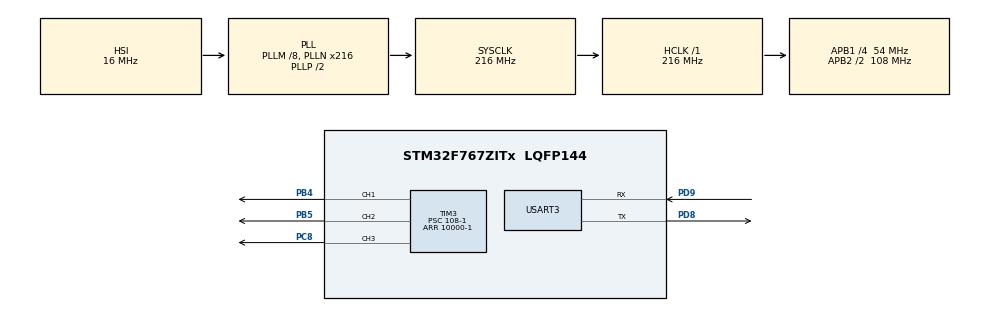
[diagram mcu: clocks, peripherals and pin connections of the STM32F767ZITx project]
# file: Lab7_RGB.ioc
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CORTEX_M7.default_mode_Activation=1
Mcu.Family=STM32F7
Mcu.Name=STM32F767ZITx
Mcu.Package=LQFP144
NVIC.PriorityGroup=NVIC_PRIORITYGROUP_4
NVIC.USART3_IRQn=true\:0\:0\:false\:false\:true\:true\:true\:true
PB4.GPIO_Speed=GPIO_SPEED_FREQ_VERY_HIGH
PB4.Signal=S_TIM3_CH1
PB5.GPIO_Speed=GPIO_SPEED_FREQ_VERY_HIGH
PB5.Signal=S_TIM3_CH2
PC8.GPIO_Speed=GPIO_SPEED_FREQ_VERY_HIGH
PC8.Signal=S_TIM3_CH3
PD8.Mode=Asynchronous
PD8.Signal=USART3_TX
PD9.Mode=Asynchronous
PD9.Signal=USART3_RX
ProjectManager.HeapSize=0x200
ProjectManager.StackSize=0x400
ProjectManager.TargetToolchain=STM32CubeIDE
RCC.AHBFreq_Value=216000000
RCC.APB1CLKDivider=RCC_HCLK_DIV4
RCC.APB1Freq_Value=54000000
RCC.APB1TimFreq_Value=108000000
RCC.APB2CLKDivider=RCC_HCLK_DIV2
RCC.APB2Freq_Value=108000000
RCC.APB2TimFreq_Value=216000000
RCC.CortexFreq_Value=216000000
RCC.HCLKFreq_Value=216000000
RCC.HSE_VALUE=25000000
RCC.HSI_VALUE=16000000
RCC.LSE_VALUE=32768
RCC.PLLM=8
RCC.PLLN=216
RCC.SYSCLKFreq_VALUE=216000000
RCC.SYSCLKSource=RCC_SYSCLKSOURCE_PLLCLK
RCC.USBFreq_Value=216000000
RCC.VCOOutputFreq_Value=432000000
SH.S_TIM3_CH1.0=TIM3_CH1,PWM Generation1 CH1
SH.S_TIM3_CH2.0=TIM3_CH2,PWM Generation2 CH2
SH.S_TIM3_CH3.0=TIM3_CH3,PWM Generation3 CH3
TIM3.Channel-PWM\ Generation1\ CH1=TIM_CHANNEL_1
TIM3.Channel-PWM\ Generation2\ CH2=TIM_CHANNEL_2
TIM3.Channel-PWM\ Generation3\ CH3=TIM_CHANNEL_3
TIM3.Period=10000-1
TIM3.Prescaler=108-1
USART3.VirtualMode-Asynchronous=VM_ASYNC
VP_TIM3_VS_ClockSourceINT.Mode=Internal
board=custom

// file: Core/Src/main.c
/* USER CODE BEGIN Header */
/**
  ******************************************************************************
  * @file           : main.c
  * @brief          : Main program body
  ******************************************************************************
  * @attention
  *
  * Copyright (c) 2026 STMicroelectronics.
  * All rights reserved.
  *
  * This software is licensed under terms that can be found in the LICENSE file
  * in the root directory of this software component.
  * If no LICENSE file comes with this software, it is provided AS-IS.
  *
  ******************************************************************************
  */
/* USER CODE END Header */
#include "main.h"
#include "tim.h"
#include "usart.h"
#include "gpio.h"

/* USER CODE BEGIN Includes */
#include <stdio.h>
/* USER CODE END Includes */

/* USER CODE BEGIN PD */
#define PWM_PERIOD   (10000-1)   // matches TIM3 ARR value
#define STEP_PERCENT 20          // brightness increases by 20% per key press
/* USER CODE END PD */

/* USER CODE BEGIN PV */
volatile uint8_t rxChar;              // holds the byte received over UART (interrupt-driven)
volatile uint8_t newKeyReceived = 0;  // flag set by the ISR, cleared by main loop

uint8_t redBrightness   = 0;    // 0,20,40,60,80,100 (%)
uint8_t greenBrightness = 0;
uint8_t blueBrightness  = 0;
/* USER CODE END PV */

void SystemClock_Config(void);
static void MPU_Config(void);
/* USER CODE BEGIN PFP */
void UpdatePWM(void);
/* USER CODE END PFP */

/* USER CODE BEGIN 0 */

/**
  * @brief  Writes the current brightness values into the TIM3 CCR registers.
  */
void UpdatePWM(void)
{
  htim3.Instance->CCR1 = (PWM_PERIOD * redBrightness)   / 100;  // R -> PB4
  htim3.Instance->CCR2 = (PWM_PERIOD * greenBrightness) / 100;  // G -> PB5
  htim3.Instance->CCR3 = (PWM_PERIOD * blueBrightness)  / 100;  // B -> PB0
}

/**
  * @brief  Called automatically by the HAL whenever the 1-byte interrupt-driven
  *         reception completes. This is much more robust than blocking
  *         HAL_UART_Receive(): it does not get "stuck" after a noise/framing
  *         error, because we immediately re-arm the next reception no matter
  *         what byte just came in.
  */
void HAL_UART_RxCpltCallback(UART_HandleTypeDef *huart)
{
  if (huart->Instance == USART3)
  {
    HAL_GPIO_TogglePin(GPIOB, GPIO_PIN_7);    // LD2 toggles on EVERY byte received (proof ISR fired)
    newKeyReceived = 1;                       // tell main loop a byte is ready
    HAL_UART_Receive_IT(&huart3, (uint8_t*)&rxChar, 1);  // immediately listen for the next byte
  }
}

/**
  * @brief  Called by the HAL if a UART error (overrun, framing, noise, parity)
  *         occurs. We simply clear it and re-arm reception so the peripheral
  *         never gets permanently stuck.
  */
void HAL_UART_ErrorCallback(UART_HandleTypeDef *huart)
{
  if (huart->Instance == USART3)
  {
    // Rapid double-toggle so you can tell an ERROR happened vs a normal byte
    HAL_GPIO_TogglePin(GPIOB, GPIO_PIN_7);
    HAL_Delay(50);
    HAL_GPIO_TogglePin(GPIOB, GPIO_PIN_7);

    __HAL_UART_CLEAR_OREFLAG(huart);
    __HAL_UART_CLEAR_FEFLAG(huart);
    __HAL_UART_CLEAR_NEFLAG(huart);
    __HAL_UART_CLEAR_PEFLAG(huart);
    HAL_UART_Receive_IT(&huart3, (uint8_t*)&rxChar, 1);
  }
}

/* USER CODE END 0 */

int main(void)
{

  /* MPU Configuration--------------------------------------------------------*/
  MPU_Config();

  /* MCU Configuration--------------------------------------------------------*/

  /* Reset of all peripherals, Initializes the Flash interface and the Systick. */
  HAL_Init();

  /* Configure the system clock */
  SystemClock_Config();

  /* Initialize all configured peripherals */
  MX_GPIO_Init();
  MX_TIM3_Init();
  MX_USART3_UART_Init();
  /* USER CODE BEGIN 2 */

  // Manually configure PB7 (onboard LD2 green LED on Nucleo-144) as a
  // GPIO output, used purely as a hardware debug indicator for this test.
  {
    GPIO_InitTypeDef GPIO_InitStruct = {0};
    __HAL_RCC_GPIOB_CLK_ENABLE();
    GPIO_InitStruct.Pin   = GPIO_PIN_7;
    GPIO_InitStruct.Mode  = GPIO_MODE_OUTPUT_PP;
    GPIO_InitStruct.Pull  = GPIO_NOPULL;
    GPIO_InitStruct.Speed = GPIO_SPEED_FREQ_LOW;
    HAL_GPIO_Init(GPIOB, &GPIO_InitStruct);
    HAL_GPIO_WritePin(GPIOB, GPIO_PIN_7, GPIO_PIN_RESET);
  }

  // Start PWM generation on all 3 channels
  HAL_TIM_PWM_Start(&htim3, TIM_CHANNEL_1);   // R
  HAL_TIM_PWM_Start(&htim3, TIM_CHANNEL_2);   // G
  HAL_TIM_PWM_Start(&htim3, TIM_CHANNEL_3);   // B

  UpdatePWM();   // all start at 0% brightness

  // Arm the FIRST interrupt-driven byte reception. From here on, every
  // completed reception (HAL_UART_RxCpltCallback) re-arms the next one.
  HAL_UART_Receive_IT(&huart3, (uint8_t*)&rxChar, 1);

  /* USER CODE END 2 */

  /* Infinite loop */
  /* USER CODE BEGIN WHILE */
  while (1)
  {
    if (newKeyReceived)
    {
      newKeyReceived = 0;
      uint8_t key = rxChar;

      uint8_t isValidKey = (key=='r'||key=='R'||key=='g'||key=='G'||key=='b'||key=='B');

      if (isValidKey)
      {
        switch (key)
        {
          case 'r':
          case 'R':
            redBrightness += STEP_PERCENT;
            if (redBrightness > 100) redBrightness = 0;
            break;

          case 'g':
          case 'G':
            greenBrightness += STEP_PERCENT;
            if (greenBrightness > 100) greenBrightness = 0;
            break;

          case 'b':
          case 'B':
            blueBrightness += STEP_PERCENT;
            if (blueBrightness > 100) blueBrightness = 0;
            break;
        }

        UpdatePWM();

        char msg[64];
        int len = snprintf(msg, sizeof(msg), "key=%c  R=%3d G=%3d B=%3d\r\n",
                            key, redBrightness, greenBrightness, blueBrightness);
        HAL_UART_Transmit(&huart3, (uint8_t*)msg, len, HAL_MAX_DELAY);
      }
      // else: silently ignore noise / unrecognized bytes
    }

    /* USER CODE END WHILE */

  }
}

void SystemClock_Config(void)
{
  RCC_OscInitTypeDef RCC_OscInitStruct = {0};
  RCC_ClkInitTypeDef RCC_ClkInitStruct = {0};

  /** Configure the main internal regulator output voltage
  */
  __HAL_RCC_PWR_CLK_ENABLE();
  __HAL_PWR_VOLTAGESCALING_CONFIG(PWR_REGULATOR_VOLTAGE_SCALE1);

  /** Initializes the RCC Oscillators according to the specified parameters
  * in the RCC_OscInitTypeDef structure.
  */
  RCC_OscInitStruct.OscillatorType = RCC_OSCILLATORTYPE_HSI;
  RCC_OscInitStruct.HSIState = RCC_HSI_ON;
  RCC_OscInitStruct.HSICalibrationValue = RCC_HSICALIBRATION_DEFAULT;
  RCC_OscInitStruct.PLL.PLLState = RCC_PLL_ON;
  RCC_OscInitStruct.PLL.PLLSource = RCC_PLLSOURCE_HSI;
  RCC_OscInitStruct.PLL.PLLM = 8;
  RCC_OscInitStruct.PLL.PLLN = 216;
  RCC_OscInitStruct.PLL.PLLP = RCC_PLLP_DIV2;
  RCC_OscInitStruct.PLL.PLLQ = 2;
  RCC_OscInitStruct.PLL.PLLR = 2;
  if (HAL_RCC_OscConfig(&RCC_OscInitStruct) != HAL_OK)
  {
    Error_Handler();
  }

  /** Activate the Over-Drive mode
  */
  if (HAL_PWREx_EnableOverDrive() != HAL_OK)
  {
    Error_Handler();
  }

  /** Initializes the CPU, AHB and APB buses clocks
  */
  RCC_ClkInitStruct.ClockType = RCC_CLOCKTYPE_HCLK|RCC_CLOCKTYPE_SYSCLK
                              |RCC_CLOCKTYPE_PCLK1|RCC_CLOCKTYPE_PCLK2;
  RCC_ClkInitStruct.SYSCLKSource = RCC_SYSCLKSOURCE_PLLCLK;
  RCC_ClkInitStruct.AHBCLKDivider = RCC_SYSCLK_DIV1;
  RCC_ClkInitStruct.APB1CLKDivider = RCC_HCLK_DIV4;
  RCC_ClkInitStruct.APB2CLKDivider = RCC_HCLK_DIV2;

  if (HAL_RCC_ClockConfig(&RCC_ClkInitStruct, FLASH_LATENCY_7) != HAL_OK)
  {
    Error_Handler();
  }
}

 /* MPU Configuration */

void MPU_Config(void)
{
  MPU_Region_InitTypeDef MPU_InitStruct = {0};

  /* Disables the MPU */
  HAL_MPU_Disable();

  /** Initializes and configures the Region and the memory to be protected
  */
  MPU_InitStruct.Enable = MPU_REGION_ENABLE;
  MPU_InitStruct.Number = MPU_REGION_NUMBER0;
  MPU_InitStruct.BaseAddress = 0x0;
  MPU_InitStruct.Size = MPU_REGION_SIZE_4GB;
  MPU_InitStruct.SubRegionDisable = 0x87;
  MPU_InitStruct.TypeExtField = MPU_TEX_LEVEL0;
  MPU_InitStruct.AccessPermission = MPU_REGION_NO_ACCESS;
  MPU_InitStruct.DisableExec = MPU_INSTRUCTION_ACCESS_DISABLE;
  MPU_InitStruct.IsShareable = MPU_ACCESS_SHAREABLE;
  MPU_InitStruct.IsCacheable = MPU_ACCESS_NOT_CACHEABLE;
  MPU_InitStruct.IsBufferable = MPU_ACCESS_NOT_BUFFERABLE;

  HAL_MPU_ConfigRegion(&MPU_InitStruct);
  /* Enables the MPU */
  HAL_MPU_Enable(MPU_PRIVILEGED_DEFAULT);

}

void Error_Handler(void)
{
  __disable_irq();
  while (1)
  {
  }
}
